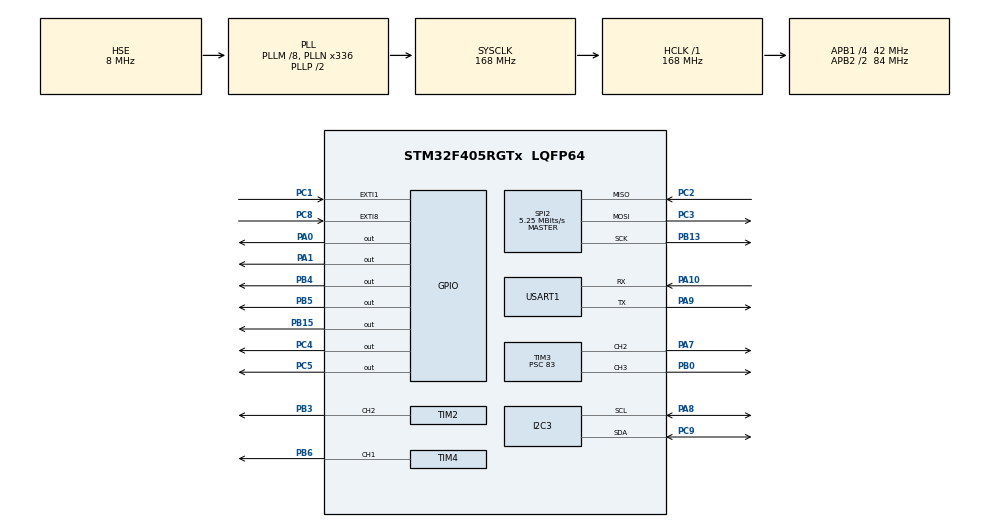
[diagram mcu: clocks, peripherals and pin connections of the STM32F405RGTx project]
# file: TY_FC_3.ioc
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Mcu.Family=STM32F4
Mcu.Name=STM32F405RGTx
Mcu.Package=LQFP64
NVIC.EXTI1_IRQn=true\:0\:0\:false\:false\:true\:true\:true\:true
NVIC.EXTI9_5_IRQn=true\:1\:0\:true\:false\:true\:true\:true\:true
NVIC.PriorityGroup=NVIC_PRIORITYGROUP_4
PA0-WKUP.Signal=GPIO_Output
PA1.Signal=GPIO_Output
PA10.Mode=Asynchronous
PA10.Signal=USART1_RX
PA7.Signal=S_TIM3_CH2
PA8.Mode=I2C
PA8.Signal=I2C3_SCL
PA9.Mode=Asynchronous
PA9.Signal=USART1_TX
PB0.Signal=S_TIM3_CH3
PB13.Mode=Full_Duplex_Master
PB13.Signal=SPI2_SCK
PB15.Signal=GPIO_Output
PB3.Signal=S_TIM2_CH2
PB4.Signal=GPIO_Output
PB5.Signal=GPIO_Output
PB6.Signal=S_TIM4_CH1
PC1.Signal=GPXTI1
PC2.Mode=Full_Duplex_Master
PC2.Signal=SPI2_MISO
PC3.Mode=Full_Duplex_Master
PC3.Signal=SPI2_MOSI
PC4.Signal=GPIO_Output
PC5.Signal=GPIO_Output
PC8.Signal=GPXTI8
PC9.Mode=I2C
PC9.Signal=I2C3_SDA
PH0-OSC_IN.Mode=HSE-External-Oscillator
PH0-OSC_IN.Signal=RCC_OSC_IN
PH1-OSC_OUT.Mode=HSE-External-Oscillator
PH1-OSC_OUT.Signal=RCC_OSC_OUT
ProjectManager.HeapSize=0x200
ProjectManager.StackSize=0x400
ProjectManager.TargetToolchain=MDK-ARM V5.32
RCC.48MHZClocksFreq_Value=84000000
RCC.AHBFreq_Value=168000000
RCC.APB1CLKDivider=RCC_HCLK_DIV4
RCC.APB1Freq_Value=42000000
RCC.APB1TimFreq_Value=84000000
RCC.APB2CLKDivider=RCC_HCLK_DIV2
RCC.APB2Freq_Value=84000000
RCC.APB2TimFreq_Value=168000000
RCC.CortexFreq_Value=168000000
RCC.HCLKFreq_Value=168000000
RCC.HSE_VALUE=8000000
RCC.HSI_VALUE=16000000
RCC.LSE_VALUE=32768
RCC.PLLM=8
RCC.PLLN=336
RCC.PLLSourceVirtual=RCC_PLLSOURCE_HSE
RCC.SYSCLKFreq_VALUE=168000000
RCC.SYSCLKSource=RCC_SYSCLKSOURCE_PLLCLK
RCC.VCOOutputFreq_Value=336000000
SH.S_TIM2_CH2.0=TIM2_CH2,PWM Generation2 CH2
SH.S_TIM3_CH2.0=TIM3_CH2,PWM Generation2 CH2
SH.S_TIM3_CH3.0=TIM3_CH3,PWM Generation3 CH3
SH.S_TIM4_CH1.0=TIM4_CH1,PWM Generation1 CH1
SPI2.BaudRatePrescaler=SPI_BAUDRATEPRESCALER_8
SPI2.CalculateBaudRate=5.25 MBits/s
SPI2.Direction=SPI_DIRECTION_2LINES
SPI2.Mode=SPI_MODE_MASTER
SPI2.VirtualType=VM_MASTER
TIM2.AutoReloadPreload=TIM_AUTORELOAD_PRELOAD_ENABLE
TIM2.Channel-PWM\ Generation2\ CH2=TIM_CHANNEL_2
TIM2.Period=999
TIM2.Prescaler=83
TIM3.AutoReloadPreload=TIM_AUTORELOAD_PRELOAD_ENABLE
TIM3.Channel-PWM\ Generation2\ CH2=TIM_CHANNEL_2
TIM3.Channel-PWM\ Generation3\ CH3=TIM_CHANNEL_3
TIM3.Period=999
TIM3.Prescaler=83
TIM4.AutoReloadPreload=TIM_AUTORELOAD_PRELOAD_ENABLE
TIM4.Channel-PWM\ Generation1\ CH1=TIM_CHANNEL_1
TIM4.Period=999
TIM4.Prescaler=83
USART1.VirtualMode=VM_ASYNC
board=custom

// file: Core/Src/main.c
/* USER CODE BEGIN Header */
/**
  ******************************************************************************
  * @file           : main.c
  * @brief          : Main program body
  ******************************************************************************
  * @attention
  *
  * Copyright (c) 2026 STMicroelectronics.
  * All rights reserved.
  *
  * This software is licensed under terms that can be found in the LICENSE file
  * in the root directory of this software component.
  * If no LICENSE file comes with this software, it is provided AS-IS.
  *
  ******************************************************************************
  */
/* USER CODE END Header */
#include "main.h"

/* USER CODE BEGIN Includes */
#include "stdio.h"
#include "MPU6050_0.h"
#include "NRF24L01.h"
#include "PID.h"
/* USER CODE END Includes */

I2C_HandleTypeDef hi2c3;

SPI_HandleTypeDef hspi2;

TIM_HandleTypeDef htim2;
TIM_HandleTypeDef htim3;
TIM_HandleTypeDef htim4;

UART_HandleTypeDef huart1;

/* USER CODE BEGIN PV */
#define MAX_SPEED 4199
#define INIT_SPEED 2000
#define M1_OFFEST_K 1.0f
#define M2_OFFEST_K 1.0f
#define M3_OFFEST_K 1.0f
#define M4_OFFEST_K 1.0f

/* USER CODE END PV */

void SystemClock_Config(void);
static void MX_GPIO_Init(void);
static void MX_I2C3_Init(void);
static void MX_SPI2_Init(void);
static void MX_TIM2_Init(void);
static void MX_TIM3_Init(void);
static void MX_TIM4_Init(void);
static void MX_USART1_UART_Init(void);
/* USER CODE BEGIN PFP */
void Start_Wait(void);
void motor_init_obyo(void);
void motor_init_together(void);
void speed_contral(int *value);
void PID_Process(float roll_angle,float pitch_angle,float dt);
void setup_contral(int *setup);
void NRF_Receive(void);
void Motor_Totol_Control(void);
void NRF_Init(void);
void Signal_PID(float roll_angle,float pitch_angle);
/* USER CODE END PFP */

/* USER CODE BEGIN 0 */

PID_Struct pitch_pid = {.kp = 15.0f,.ki = 0.0f ,.kd = 0.0f};
PID_Struct gyro_y_pid ={.kp = 8.0f,.ki = 0.0f ,.kd = 0.03f};
PID_Struct roll_pid = {.kp = 15.0f,.ki = 0.0f ,.kd = 0.0f};
PID_Struct gyro_x_pid ={.kp = 8.0f,.ki = 0.0f ,.kd = 0.03f};
// PID_Struct yaw_pid ={.kp = 1.0f,.ki = 0.0f ,.kd = 0.0f};
PID_Struct gyro_z_pid ={.kp = 15.0f,.ki = 0.0f ,.kd = 0.0f};

Target_State_t target_state = {.target_speed = 0,.target_roll = 0,.target_pitch = 0};

int m1_value = 0;
int m2_value = 0;
int m3_value = 0;
int m4_value = 0;

int m1_step = 0;
int m2_step = 0;
int m3_step = 0;
int m4_step = 0;

uint16_t lost_count = 0;
// int Base_Speed_B = INIT_SPEED;
// int Base_Speed_F = MAX_SPEED-INIT_SPEED;

volatile uint8_t nrf_rx_flag = 0;
volatile uint8_t start_flag = 0;
// volatile uint32_t dbg_step = 0;
/* USER CODE END 0 */

int main(void)
{

  /* MCU Configuration--------------------------------------------------------*/

  /* Reset of all peripherals, Initializes the Flash interface and the Systick. */
  HAL_Init();

  /* Configure the system clock */
  SystemClock_Config();

  /* Initialize all configured peripherals */
  MX_GPIO_Init();
  MX_I2C3_Init();
  MX_SPI2_Init();
  MX_TIM2_Init();
  MX_TIM3_Init();
  MX_TIM4_Init();
  MX_USART1_UART_Init();
  /* USER CODE BEGIN 2 */
	HAL_GPIO_WritePin(GPIOB, GPIO_PIN_15, GPIO_PIN_SET);
	HAL_Delay(500);

  // NRF24L01_RX_SelfTest_Enhanced();
  // NRF24L01_RX_SelfTest_NoSender();
  NRF_Init();
	HAL_Delay(1000);

	HAL_GPIO_WritePin(GPIOB, GPIO_PIN_15, GPIO_PIN_RESET);
	Start_Wait();
	HAL_GPIO_WritePin(GPIOB, GPIO_PIN_15, GPIO_PIN_SET);

	mpu6050_init();
	HAL_Delay(500);
	motor_init_together();
  // motor_init_obyo();
  /* USER CODE END 2 */

  /* Infinite loop */
  /* USER CODE BEGIN WHILE */
	static uint32_t last_log = 0;
  static uint32_t last_time = 0;
  uint32_t run_time = 0;
//  float f_run_time = 0.0f;
  float dt =0.0f;
  // uint32_t last_time = 0.0f;
  // uint32_t start_time = 0;
  // uint32_t finish_time = 0;
  // volatile uint32_t loop_count = 0;
  while (1)
  {
	  // printf("runing");
    // loop_count++;
    // printf("Loop Count: %lu\n",loop_count);
    // start_time = HAL_GetTick();
    lost_count++;
    // run_time = HAL_GetTick() - last_time;
    dt = 0.001f;
    MPU6050_GETANGLE(dt,&mpu_pid_data);
    PID_Process(Target_State.target_roll-1.0f,Target_State.target_pitch+2.0f,dt);
    // last_time = HAL_GetTick();
    NRF_Receive();
    Motor_Totol_Control();
    // finish_time = HAL_GetTick();
//		HAL_Delay(100);
		// if(HAL_GetTick()- last_log >= 250)
		// {
    //   printf("dt:%.4f\n",dt);
		//   printf("***********************************\n");
		//   printf("姿态互补翻滚角 = %.1f °\n", mpu_pid_data.roll);
		//   printf("姿态互补俯仰角 = %.1f °\n",mpu_pid_data.pitch);
      // printf("偏航角 = %.1f °\n",mpu_pid_data.yaw);
      // printf("纯陀螺仪翻滚角 = %.1f °\n",mpu_pid_data.roll_gyro);
      // printf("纯陀螺仪俯仰角 = %.1f °\n",mpu_pid_data.pitch_gyro);
      // printf("纯加速度翻滚角 = %.1f °\n",mpu_pid_data.roll_acc);
      // printf("纯加速度俯仰角 = %.1f °\n",mpu_pid_data.pitch_acc);
		  // printf("陀螺仪原始y轴角速度 = %.1f \n", mpu_pid_data.gyro_y);
		  // printf("陀螺仪原始x轴角速度 = %.1f \n", mpu_pid_data.gyro_x);
      // printf("陀螺仪原始z轴角速度 = %.1f\n",mpu_pid_data.gyro_z);
      // printf("运行时长：%1u s\n",finish_time-start_time);
      // printf("roll_pid.err: %.1f\n",roll_pid.err);
      // printf("roll_pid.kp: %.1f\n",roll_pid.kp);
      // printf("dt: %.4f\n",dt);
      // printf("run_time: %lu\n",run_time);
      // printf("f_run_time: %.4f\n",f_run_time);
      // printf("PID输出翻滚角目标角速度 = %.1f \n", roll_pid.output);
      // printf("PID输出俯仰角目标角速度 = %.1f \n", pitch_pid.output);
      // printf("PID翻滚角最终输出结果 = %.1f \n", gyro_x_pid.output);
      // printf("PID俯仰角最终输出结果 = %.1f \n", gyro_y_pid.output);
      // printf("PID偏航角最终输出结果 = %.1f \n",gyro_z_pid.output);
//
//
//		printf("目标翻滚角度：%.1f\n",f_roll);
//		printf("目标俯仰角度：%.1f\n",f_pitch);
//		printf("提速状况：%.1f,\n",speed);
//		printf("m1_value:%d\n",m1_value);
//		GPIO_PinState a = HAL_GPIO_ReadPin(GPIOC, GPIO_PIN_4);
//		printf("电平状态: %d\n", a);
//		printf("m2_value:%d\n",m2_value);
//		GPIO_PinState b = HAL_GPIO_ReadPin(GPIOB, GPIO_PIN_5);
//		printf("电平状态: %d\n", b);
//		printf("m3_value:%d\n",m3_value);
//		GPIO_PinState c = HAL_GPIO_ReadPin(GPIOB, GPIO_PIN_4);
//		printf("电平状态: %d\n", c);
//		printf("m4_value:%d\n",m4_value);
//		GPIO_PinState d = HAL_GPIO_ReadPin(GPIOC, GPIO_PIN_5);
//		printf("电平状态: %d\n", d);
//
      // printf("M1当前速度：%.2f%%\n",(float)m1_value/MAX_SPEED*100.0f);
      // printf("M2当前速度：%.2f%%\n",(float)m2_value/MAX_SPEED*100.0f);
      // printf("M3当前速度：%.2f%%\n",(float)m3_value/MAX_SPEED*100.0f);
      // printf("M4当前速度：%.2f%%\n",(float)m4_value/MAX_SPEED*100.0f);
//
      // printf("M1步进值：%d\n",m1_step);
      // printf("M2步进值：%d\n",m2_step);
      // printf("M3步进值：%d\n",m3_step);
      // printf("M4步进值：%d\n",m4_step);
//
		// last_log = HAL_GetTick();
		// }
//		printf("循环用时 %lu\n",HAL_GetTick()-start_time);
//	  balance_contral();
//	  speed_contral(&m1_value);
//	  speed_contral(&m2_value);
//	  speed_contral(&m3_value);
//	  speed_contral(&m4_value);
//	  m1_contral(m1_value);
//	  m2_contral(m2_value);
//	  m3_contral(m3_value);
//	  m4_contral(m4_value);
//	  printf("电机控制值: M1=%d, M2=%d, M3=%d, M4=%d\r\n",
//         m1_value, m2_value, m3_value, m4_value);
//	  HAL_Delay(100);
    /* USER CODE END WHILE */

  }
}

void SystemClock_Config(void)
{
  RCC_OscInitTypeDef RCC_OscInitStruct = {0};//时钟晶振配置结构体
  RCC_ClkInitTypeDef RCC_ClkInitStruct = {0};//时钟配置结构体

  /** Configure the main internal regulator output voltage
  */
  __HAL_RCC_PWR_CLK_ENABLE();//使能电源控制时钟
  __HAL_PWR_VOLTAGESCALING_CONFIG(PWR_REGULATOR_VOLTAGE_SCALE1);//配置电源为最高级以发挥最大频率

  /** Initializes the RCC Oscillators according to the specified parameters
  * in the RCC_OscInitTypeDef structure.
  */
  RCC_OscInitStruct.OscillatorType = RCC_OSCILLATORTYPE_HSE;//配置使用外部高速晶振
  RCC_OscInitStruct.HSEState = RCC_HSE_ON;//开启外部高速晶振
  RCC_OscInitStruct.PLL.PLLState = RCC_PLL_ON;//开启锁相环
  RCC_OscInitStruct.PLL.PLLSource = RCC_PLLSOURCE_HSE;//配置锁相环的时钟源
  RCC_OscInitStruct.PLL.PLLM = 8;//8倍分频
  RCC_OscInitStruct.PLL.PLLN = 336;//倍频
  RCC_OscInitStruct.PLL.PLLP = RCC_PLLP_DIV2;//2分频
  RCC_OscInitStruct.PLL.PLLQ = 4;//4分频
  if (HAL_RCC_OscConfig(&RCC_OscInitStruct) != HAL_OK)
  {
    Error_Handler();
  }

  /** Initializes the CPU, AHB and APB buses clocks
  */
  RCC_ClkInitStruct.ClockType = RCC_CLOCKTYPE_HCLK|RCC_CLOCKTYPE_SYSCLK
                              |RCC_CLOCKTYPE_PCLK1|RCC_CLOCKTYPE_PCLK2;//使能需要使用的时钟
  RCC_ClkInitStruct.SYSCLKSource = RCC_SYSCLKSOURCE_PLLCLK;//配置时钟源为PPL
  RCC_ClkInitStruct.AHBCLKDivider = RCC_SYSCLK_DIV1;//配置AHB频率不分频
  RCC_ClkInitStruct.APB1CLKDivider = RCC_HCLK_DIV4;//配置APB1频率4分频
  RCC_ClkInitStruct.APB2CLKDivider = RCC_HCLK_DIV2;//配置APB2频率2分频

  if (HAL_RCC_ClockConfig(&RCC_ClkInitStruct, FLASH_LATENCY_5) != HAL_OK)
  {
    Error_Handler();
  }
}

static void MX_I2C3_Init(void)
{

  hi2c3.Instance = I2C3;
  hi2c3.Init.ClockSpeed = 100000;// 配置IIC速率
  hi2c3.Init.DutyCycle = I2C_DUTYCYCLE_2;// 快速模式下需要的配置，配置低：高为2：1
  hi2c3.Init.OwnAddress1 = 0;// 不设置作为从机的地址
  hi2c3.Init.AddressingMode = I2C_ADDRESSINGMODE_7BIT;// 设置地址为7位
  hi2c3.Init.DualAddressMode = I2C_DUALADDRESS_DISABLE;// 不设置双地址
  hi2c3.Init.OwnAddress2 = 0; //不设置第二个地址
  hi2c3.Init.GeneralCallMode = I2C_GENERALCALL_DISABLE; // 禁用广播模式
  hi2c3.Init.NoStretchMode = I2C_NOSTRETCH_DISABLE;// 禁用无拉伸主机等待从机准备数据
  if (HAL_I2C_Init(&hi2c3) != HAL_OK)
  {
    Error_Handler();
  }

}

static void MX_SPI2_Init(void)
{

  /* SPI2 parameter configuration*/
  hspi2.Instance = SPI2;
  hspi2.Init.Mode = SPI_MODE_MASTER;// 设置为主机
  hspi2.Init.Direction = SPI_DIRECTION_2LINES;// 设置全双工模式
  hspi2.Init.DataSize = SPI_DATASIZE_8BIT;// 设置数据位8位
  hspi2.Init.CLKPolarity = SPI_POLARITY_LOW;// 设置空闲时电平0，此时第一个边沿是上升沿
  hspi2.Init.CLKPhase = SPI_PHASE_1EDGE;// 设置上升沿采集信号
  hspi2.Init.NSS = SPI_NSS_SOFT;//使用软件片选
  hspi2.Init.BaudRatePrescaler = SPI_BAUDRATEPRESCALER_8;//设置SPI通信速率
  hspi2.Init.FirstBit = SPI_FIRSTBIT_MSB;//设置从高位起进行发送
  hspi2.Init.TIMode = SPI_TIMODE_DISABLE;//不使用TI协议
  hspi2.Init.CRCCalculation = SPI_CRCCALCULATION_DISABLE;//不进行CRC校验
  hspi2.Init.CRCPolynomial = 10;//禁止CRC,随便填的值
  if (HAL_SPI_Init(&hspi2) != HAL_OK)
  {
    Error_Handler();
  }

}

static void MX_TIM2_Init(void)
{

  TIM_MasterConfigTypeDef sMasterConfig = {0};
  TIM_OC_InitTypeDef sConfigOC = {0};

  htim2.Instance = TIM2;
  htim2.Init.Prescaler = 0;//不预分频
  htim2.Init.CounterMode = TIM_COUNTERMODE_UP;//向上计数
  htim2.Init.Period = 4199;//设置PWM频率为80khz
  htim2.Init.ClockDivision = TIM_CLOCKDIVISION_DIV1;//滤波时钟不分频
  htim2.Init.AutoReloadPreload = TIM_AUTORELOAD_PRELOAD_ENABLE;//启用自动重装载
  if (HAL_TIM_PWM_Init(&htim2) != HAL_OK)
  {
    Error_Handler();
  }
  sMasterConfig.MasterOutputTrigger = TIM_TRGO_RESET;//用于触发其他外设（无用）
  sMasterConfig.MasterSlaveMode = TIM_MASTERSLAVEMODE_DISABLE;//关闭定时器的主从同步模式
  if (HAL_TIMEx_MasterConfigSynchronization(&htim2, &sMasterConfig) != HAL_OK)
  {
    Error_Handler();
  }
  sConfigOC.OCMode = TIM_OCMODE_PWM1;//设置为PWM1模式，<CCR时输出高电平
  sConfigOC.Pulse = 0;//设置初始CCR为0
  sConfigOC.OCPolarity = TIM_OCPOLARITY_HIGH;//设置有效电平为高电平
//  sConfigOC.OCFastMode = TIM_OCFAST_DISABLE;
  sConfigOC.OCFastMode = TIM_OCFAST_ENABLE; //设置为高速模式
  if (HAL_TIM_PWM_ConfigChannel(&htim2, &sConfigOC, TIM_CHANNEL_2) != HAL_OK)
  {
    Error_Handler();
  }
  HAL_TIM_MspPostInit(&htim2);

}

static void MX_TIM3_Init(void)
{

  TIM_MasterConfigTypeDef sMasterConfig = {0};
  TIM_OC_InitTypeDef sConfigOC = {0};

  htim3.Instance = TIM3;
  htim3.Init.Prescaler = 0;
  htim3.Init.CounterMode = TIM_COUNTERMODE_UP;
  htim3.Init.Period = 4199;
  htim3.Init.ClockDivision = TIM_CLOCKDIVISION_DIV1;
  htim3.Init.AutoReloadPreload = TIM_AUTORELOAD_PRELOAD_ENABLE;
  if (HAL_TIM_PWM_Init(&htim3) != HAL_OK)
  {
    Error_Handler();
  }
  sMasterConfig.MasterOutputTrigger = TIM_TRGO_RESET;
  sMasterConfig.MasterSlaveMode = TIM_MASTERSLAVEMODE_DISABLE;
  if (HAL_TIMEx_MasterConfigSynchronization(&htim3, &sMasterConfig) != HAL_OK)
  {
    Error_Handler();
  }
  sConfigOC.OCMode = TIM_OCMODE_PWM1;
  sConfigOC.Pulse = 0;
  sConfigOC.OCPolarity = TIM_OCPOLARITY_HIGH;
  sConfigOC.OCFastMode = TIM_OCFAST_ENABLE;
  if (HAL_TIM_PWM_ConfigChannel(&htim3, &sConfigOC, TIM_CHANNEL_2) != HAL_OK)
  {
    Error_Handler();
  }
  if (HAL_TIM_PWM_ConfigChannel(&htim3, &sConfigOC, TIM_CHANNEL_3) != HAL_OK)
  {
    Error_Handler();
  }
  HAL_TIM_MspPostInit(&htim3);

}

static void MX_TIM4_Init(void)
{

  TIM_MasterConfigTypeDef sMasterConfig = {0};
  TIM_OC_InitTypeDef sConfigOC = {0};

  htim4.Instance = TIM4;
  htim4.Init.Prescaler = 0;
  htim4.Init.CounterMode = TIM_COUNTERMODE_UP;
  htim4.Init.Period = 4199;
  htim4.Init.ClockDivision = TIM_CLOCKDIVISION_DIV1;
  htim4.Init.AutoReloadPreload = TIM_AUTORELOAD_PRELOAD_ENABLE;
  if (HAL_TIM_PWM_Init(&htim4) != HAL_OK)
  {
    Error_Handler();
  }
  sMasterConfig.MasterOutputTrigger = TIM_TRGO_RESET;
  sMasterConfig.MasterSlaveMode = TIM_MASTERSLAVEMODE_DISABLE;
  if (HAL_TIMEx_MasterConfigSynchronization(&htim4, &sMasterConfig) != HAL_OK)
  {
    Error_Handler();
  }
  sConfigOC.OCMode = TIM_OCMODE_PWM1;
  sConfigOC.Pulse = 0;
  sConfigOC.OCPolarity = TIM_OCPOLARITY_HIGH;
  sConfigOC.OCFastMode = TIM_OCFAST_ENABLE;
  if (HAL_TIM_PWM_ConfigChannel(&htim4, &sConfigOC, TIM_CHANNEL_1) != HAL_OK)
  {
    Error_Handler();
  }
  HAL_TIM_MspPostInit(&htim4);

}

static void MX_USART1_UART_Init(void)
{

  huart1.Instance = USART1;
  huart1.Init.BaudRate = 115200;//波特率
  huart1.Init.WordLength = UART_WORDLENGTH_8B;//8位数据位
  huart1.Init.StopBits = UART_STOPBITS_1;//1位停止位
  huart1.Init.Parity = UART_PARITY_NONE;//无校验位
  huart1.Init.Mode = UART_MODE_TX_RX;//全双工模式
  huart1.Init.HwFlowCtl = UART_HWCONTROL_NONE;//无硬件流控
  huart1.Init.OverSampling = UART_OVERSAMPLING_16;//16倍采样
  if (HAL_UART_Init(&huart1) != HAL_OK)
  {
    Error_Handler();
  }

}

static void MX_GPIO_Init(void)
{
  GPIO_InitTypeDef GPIO_InitStruct = {0};

  /* GPIO Ports Clock Enable */
  __HAL_RCC_GPIOH_CLK_ENABLE();
  __HAL_RCC_GPIOC_CLK_ENABLE();
  __HAL_RCC_GPIOA_CLK_ENABLE();
  __HAL_RCC_GPIOB_CLK_ENABLE();//使能各时钟

  /*Configure GPIO pin Output Level */
  HAL_GPIO_WritePin(GPIOA, GPIO_PIN_0|GPIO_PIN_1, GPIO_PIN_RESET);

  /*Configure GPIO pin Output Level */
  HAL_GPIO_WritePin(GPIOC, GPIO_PIN_4|GPIO_PIN_5, GPIO_PIN_RESET);

  /*Configure GPIO pin Output Level */
  HAL_GPIO_WritePin(GPIOB, GPIO_PIN_15|GPIO_PIN_4|GPIO_PIN_5, GPIO_PIN_RESET);

  /*Configure GPIO pins : PC1 PC8 */
  GPIO_InitStruct.Pin = GPIO_PIN_1|GPIO_PIN_8;
  GPIO_InitStruct.Mode = GPIO_MODE_IT_FALLING;//下降沿触发的外部中断
  GPIO_InitStruct.Pull = GPIO_PULLUP;
  HAL_GPIO_Init(GPIOC, &GPIO_InitStruct);

  /*Configure GPIO pins : PA0 PA1 */
  GPIO_InitStruct.Pin = GPIO_PIN_0|GPIO_PIN_1;
  GPIO_InitStruct.Mode = GPIO_MODE_OUTPUT_PP;//通用推挽
  GPIO_InitStruct.Pull = GPIO_NOPULL;
  GPIO_InitStruct.Speed = GPIO_SPEED_FREQ_LOW;
  HAL_GPIO_Init(GPIOA, &GPIO_InitStruct);

  /*Configure GPIO pins : PC4 PC5 */
  GPIO_InitStruct.Pin = GPIO_PIN_4|GPIO_PIN_5;
  GPIO_InitStruct.Mode = GPIO_MODE_OUTPUT_PP;//通用推挽
  GPIO_InitStruct.Pull = GPIO_NOPULL;
  GPIO_InitStruct.Speed = GPIO_SPEED_FREQ_LOW;
  HAL_GPIO_Init(GPIOC, &GPIO_InitStruct);

  /*Configure GPIO pins : PB15 PB4 PB5 */
  GPIO_InitStruct.Pin = GPIO_PIN_15|GPIO_PIN_4|GPIO_PIN_5;
  GPIO_InitStruct.Mode = GPIO_MODE_OUTPUT_PP;//通用推挽
  GPIO_InitStruct.Pull = GPIO_NOPULL;
  GPIO_InitStruct.Speed = GPIO_SPEED_FREQ_LOW;
  HAL_GPIO_Init(GPIOB, &GPIO_InitStruct);

  /* EXTI interrupt init*/
  HAL_NVIC_SetPriority(EXTI1_IRQn, 0, 0);//设置中断优先级
  HAL_NVIC_EnableIRQ(EXTI1_IRQn);

  HAL_NVIC_SetPriority(EXTI9_5_IRQn, 1, 0);//设置中断优先级
  HAL_NVIC_EnableIRQ(EXTI9_5_IRQn);

}

/* USER CODE BEGIN 4 */
// void motor_init_obyo()
// {

	// HAL_TIM_PWM_Start(&htim3, TIM_CHANNEL_2);
	// HAL_GPIO_WritePin(GPIOC, GPIO_PIN_4, GPIO_PIN_RESET);
	// for(uint16_t duty=0; duty<=420; duty+=5)
  //   {
  //       __HAL_TIM_SetCompare(&htim3, TIM_CHANNEL_2, duty);
  //       HAL_Delay(10);
  //   }
	// HAL_Delay(1000);

	// HAL_TIM_PWM_Start(&htim4, TIM_CHANNEL_1);
	// HAL_GPIO_WritePin(GPIOB, GPIO_PIN_5, GPIO_PIN_SET);
	// for(uint16_t duty=839; duty>=420; duty-=5)
  //   {
  //       __HAL_TIM_SetCompare(&htim4, TIM_CHANNEL_1, duty);
  //       HAL_Delay(10);
  //   }
	// HAL_Delay(1000);

	// HAL_TIM_PWM_Start(&htim2, TIM_CHANNEL_2);
	// HAL_GPIO_WritePin(GPIOB, GPIO_PIN_4, GPIO_PIN_RESET);
	// for(uint16_t duty=0; duty<=420; duty+=5)
  //   {
  //       __HAL_TIM_SetCompare(&htim2, TIM_CHANNEL_2, duty);
  //       HAL_Delay(10);
  //   }
	// HAL_Delay(1000);

	// HAL_TIM_PWM_Start(&htim3, TIM_CHANNEL_3);
	// HAL_GPIO_WritePin(GPIOC, GPIO_PIN_5, GPIO_PIN_SET);
	// for(uint16_t duty=839; duty>=420; duty-=5)
  //   {
  //       __HAL_TIM_SetCompare(&htim3, TIM_CHANNEL_3, duty);
  //       HAL_Delay(10);
  //       printf("M4 Running...\n");
  //   }
	// HAL_Delay(1000);
// }

void motor_init_together()
{
  //左黑右白：F
	HAL_TIM_PWM_Start(&htim3, TIM_CHANNEL_2);
	// HAL_GPIO_WritePin(GPIOC, GPIO_PIN_4, GPIO_PIN_RESET);
	HAL_TIM_PWM_Start(&htim4, TIM_CHANNEL_1);
	// HAL_GPIO_WritePin(GPIOB, GPIO_PIN_5, GPIO_PIN_SET);
	HAL_TIM_PWM_Start(&htim2, TIM_CHANNEL_2);
	// HAL_GPIO_WritePin(GPIOB, GPIO_PIN_4, GPIO_PIN_RESET);
	HAL_TIM_PWM_Start(&htim3, TIM_CHANNEL_3);
	// HAL_GPIO_WritePin(GPIOC, GPIO_PIN_5, GPIO_PIN_SET);
	// uint16_t init_speed = 0;
	// while(init_speed<INIT_SPEED)
	// {
	// 	init_speed +=5;
	// 	__HAL_TIM_SetCompare(&htim3, TIM_CHANNEL_2, init_speed);
	// 	__HAL_TIM_SetCompare(&htim4, TIM_CHANNEL_1, init_speed);
	// 	__HAL_TIM_SetCompare(&htim2, TIM_CHANNEL_2, init_speed);
	// 	__HAL_TIM_SetCompare(&htim3, TIM_CHANNEL_3, init_speed);
	// 	HAL_Delay(100);
	// }
}

void speed_contral(int *value)
{
	if(*value >4199)
		*value = 4199;
	else if(*value <0)
		*value = 0;
}

void PID_Process(float roll_angle,float pitch_angle,float dt)
{
  if(4199.0f*Target_State.target_speed/20.0f < 1025)
  {
    pitch_pid.ki = 0.0;
    roll_pid.ki = 0.0;
  }
	pitch_pid.desire = pitch_angle;
	pitch_pid.measure = mpu_pid_data.pitch;
	gyro_y_pid.measure = mpu_pid_data.gyro_y;
	PID_Circulate_Chain(&pitch_pid,&gyro_y_pid,dt);

	roll_pid.desire = roll_angle;
	roll_pid.measure = mpu_pid_data.roll;
	gyro_x_pid.measure = mpu_pid_data.gyro_x;
	PID_Circulate_Chain(&roll_pid,&gyro_x_pid,dt);

  gyro_z_pid.desire = 0;
  gyro_z_pid.measure = mpu_pid_data.gyro_z;
  PID_Circulate(&gyro_z_pid,dt);
}

// void Signal_PID(float roll_angle,float pitch_angle)
// {
//   pitch_pid.desire = pitch_angle;
//   pitch_pid.measure = mpu_pid_data.pitch;
//   PID_Circulate(&pitch_pid);
//   roll_pid.desire = roll_angle;
//   roll_pid.measure = mpu_pid_data.roll;
//   PID_Circulate(&roll_pid);
// }

void HAL_GPIO_EXTI_Callback(uint16_t GPIO_Pin)
{

    if(GPIO_Pin == GPIO_PIN_1)
    {
        nrf_rx_flag = 1;
        lost_count = 0;
    }
}

void setup_contral(int *setup)
{
	if(*setup > 4199)
		*setup = 4199;
	else if(*setup < 0)
		*setup = 0;
}

void Start_Wait(void)
{
  while(1)
	{
		if(nrf_rx_flag == 1)
		{
			NRF24L01_ReadRxFIFO(&hspi2);
			NRF24L01_data_care();
			NRF24L01_ClearInterruptFlags(&hspi2, NRF_STATUS_RX_DR);
			nrf_rx_flag =0;
			if(Target_State.target_speed == -20.0f && Target_State.target_roll == -10.0f && start_flag == 0)
			{
				start_flag = 1;
			}
			if(Target_State.target_speed == 0.0f && Target_State.target_roll == 0.0f && start_flag == 1)
			{
				break;
			}
		}
	}
}
void NRF_Receive(void)
{
		if(nrf_rx_flag == 1)
		{
			NRF24L01_ReadRxFIFO(&hspi2);
			NRF24L01_data_care();
			NRF24L01_ClearInterruptFlags(&hspi2, NRF_STATUS_RX_DR);
      HAL_GPIO_TogglePin(GPIOB, GPIO_PIN_15);
      nrf_rx_flag = 0;
	  }
}
// void NRF_Receive(void)
// {
//     if(NRF24L01_IsRxDataReady(&hspi2))
//     {
//         // 读取接收FIFO数据（自动存入对应管道的rxbuffer）
//         NRF24L01_ReadRxFIFO(&hspi2);

//         // 处理接收到的数据（你的原有函数）
//         NRF24L01_data_care();

//         // 清除RX_DR中断标志（必须，否则会重复检测）
//         NRF24L01_ClearInterruptFlags(&hspi2, NRF_STATUS_RX_DR);

//         // 接收指示LED翻转
//         HAL_GPIO_TogglePin(GPIOB, GPIO_PIN_15);
//     }
// }
void Motor_Totol_Control(void)
{
  //串式
	m1_step = (int)(gyro_x_pid.output +gyro_y_pid.output - gyro_z_pid.output);
	m2_step = (int)(gyro_x_pid.output -gyro_y_pid.output + gyro_z_pid.output);
	m3_step = (int)(-gyro_x_pid.output -gyro_y_pid.output - gyro_z_pid.output);
	m4_step = (int)(-gyro_x_pid.output +gyro_y_pid.output + gyro_z_pid.output);

	setup_contral(&m1_step);
	setup_contral(&m2_step);
	setup_contral(&m3_step);
	setup_contral(&m4_step);

  if (fabs(Target_State.last_speed-Target_State.target_speed) >= 2.5 || lost_count >= 30)
  {
    Target_State.target_speed = Target_State.last_speed - 0.003;
  }

	m1_value=(4199.0f*Target_State.target_speed/20.0f + m1_step)*M1_OFFEST_K;
	m2_value=(4199.0f*Target_State.target_speed/20.0f + m2_step)*M2_OFFEST_K;
	m3_value=(4199.0f*Target_State.target_speed/20.0f + m3_step)*M3_OFFEST_K;
	m4_value=(4199.0f*Target_State.target_speed/20.0f + m4_step)*M4_OFFEST_K;

  Target_State.last_speed = Target_State.target_speed;

	speed_contral(&m1_value);
	speed_contral(&m2_value);
	speed_contral(&m3_value);
	speed_contral(&m4_value);

	__HAL_TIM_SetCompare(&htim3, TIM_CHANNEL_2, m1_value);
	__HAL_TIM_SetCompare(&htim4, TIM_CHANNEL_1, m2_value);
	__HAL_TIM_SetCompare(&htim2, TIM_CHANNEL_2, m3_value);
	__HAL_TIM_SetCompare(&htim3, TIM_CHANNEL_3, m4_value);
}
void NRF_Init(void)
{
  NRF_InitTypeDef nrf_init;
  NRF24L01_GetDefaultConfig(&nrf_init);
  NRF24L01_Init(&hspi2, &nrf_init);
	NRF24L01_SetMode(&hspi2, NRF_MODE_RX);
}

int fputc(int ch, FILE *f)
{
    HAL_UART_Transmit(&huart1, (uint8_t *)&ch, 1, 10);
    return ch;
}
/* USER CODE END 4 */

void Error_Handler(void)
{
  __disable_irq();
  while (1)
  {
  }
}
